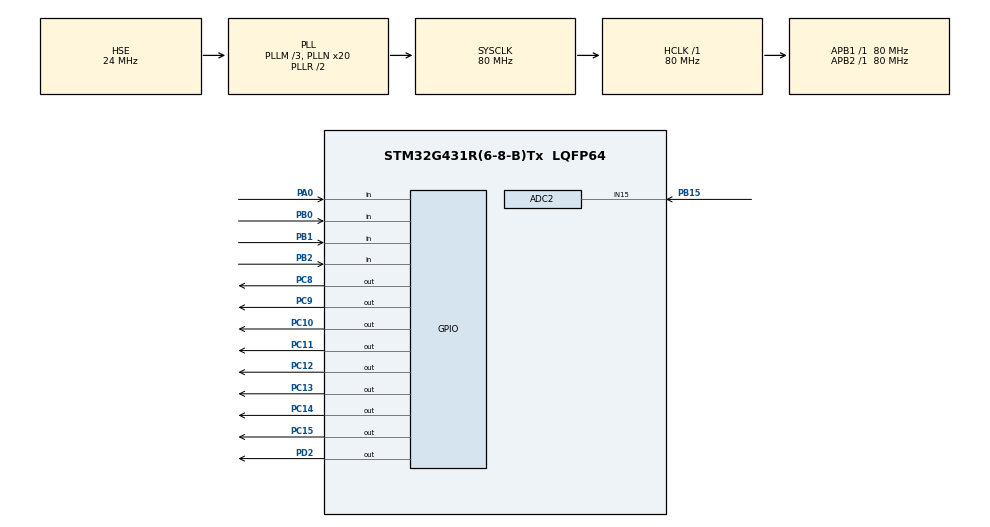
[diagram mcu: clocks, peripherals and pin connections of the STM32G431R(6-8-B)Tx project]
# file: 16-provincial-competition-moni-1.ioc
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ADC2.Channel-0\#ChannelRegularConversion=ADC_CHANNEL_15
ADC2.NbrOfConversionFlag=1
ADC2.OffsetNumber-0\#ChannelRegularConversion=ADC_OFFSET_NONE
ADC2.Rank-0\#ChannelRegularConversion=1
ADC2.SamplingTime-0\#ChannelRegularConversion=ADC_SAMPLETIME_2CYCLES_5
Mcu.Family=STM32G4
Mcu.Name=STM32G431R(6-8-B)Tx
Mcu.Package=LQFP64
NVIC.PriorityGroup=NVIC_PRIORITYGROUP_4
NVIC.TIM2_IRQn=true\:0\:0\:false\:false\:true\:true\:true\:true
PA0.GPIO_PuPd=GPIO_PULLUP
PA0.Signal=GPIO_Input
PA13.Mode=Serial_Wire
PA13.Signal=SYS_JTMS-SWDIO
PA14.Mode=Serial_Wire
PA14.Signal=SYS_JTCK-SWCLK
PB0.GPIO_PuPd=GPIO_PULLUP
PB0.Signal=GPIO_Input
PB1.GPIO_PuPd=GPIO_PULLUP
PB1.Signal=GPIO_Input
PB15.Mode=IN15-Single-Ended
PB15.Signal=ADC2_IN15
PB2.GPIO_PuPd=GPIO_PULLUP
PB2.Signal=GPIO_Input
PC10.PinState=GPIO_PIN_SET
PC10.Signal=GPIO_Output
PC11.PinState=GPIO_PIN_SET
PC11.Signal=GPIO_Output
PC12.PinState=GPIO_PIN_SET
PC12.Signal=GPIO_Output
PC13.PinState=GPIO_PIN_SET
PC13.Signal=GPIO_Output
PC14-OSC32_IN.PinState=GPIO_PIN_SET
PC14-OSC32_IN.Signal=GPIO_Output
PC15-OSC32_OUT.PinState=GPIO_PIN_SET
PC15-OSC32_OUT.Signal=GPIO_Output
PC8.PinState=GPIO_PIN_SET
PC8.Signal=GPIO_Output
PC9.PinState=GPIO_PIN_SET
PC9.Signal=GPIO_Output
PD2.Signal=GPIO_Output
PF0-OSC_IN.Mode=HSE-External-Oscillator
PF0-OSC_IN.Signal=RCC_OSC_IN
PF1-OSC_OUT.Mode=HSE-External-Oscillator
PF1-OSC_OUT.Signal=RCC_OSC_OUT
ProjectManager.HeapSize=0x200
ProjectManager.StackSize=0x400
ProjectManager.TargetToolchain=MDK-ARM V5.32
RCC.ADC12Freq_Value=80000000
RCC.AHBFreq_Value=80000000
RCC.APB1Freq_Value=80000000
RCC.APB1TimFreq_Value=80000000
RCC.APB2Freq_Value=80000000
RCC.APB2TimFreq_Value=80000000
RCC.CortexFreq_Value=80000000
RCC.EXTERNAL_CLOCK_VALUE=12288000
RCC.HCLKFreq_Value=80000000
RCC.HSE_VALUE=24000000
RCC.HSI48_VALUE=48000000
RCC.HSI_VALUE=16000000
RCC.LSE_VALUE=32768
RCC.PLLM=RCC_PLLM_DIV3
RCC.PLLN=20
RCC.PLLSourceVirtual=RCC_PLLSOURCE_HSE
RCC.SYSCLKFreq_VALUE=80000000
RCC.SYSCLKSource=RCC_SYSCLKSOURCE_PLLCLK
RCC.USBFreq_Value=80000000
RCC.VCOOutputFreq_Value=160000000
TIM2.PeriodNoDither=10000-1
TIM2.Prescaler=8000-1
VP_SYS_VS_DBSignals.Mode=DisableDeadBatterySignals
VP_TIM2_VS_ClockSourceINT.Mode=Internal
board=custom

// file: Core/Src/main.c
/* USER CODE BEGIN Header */
/**
  ******************************************************************************
  * @file           : main.c
  * @brief          : Main program body
  ******************************************************************************
  * @attention
  *
  * Copyright (c) 2025 STMicroelectronics.
  * All rights reserved.
  *
  * This software is licensed under terms that can be found in the LICENSE file
  * in the root directory of this software component.
  * If no LICENSE file comes with this software, it is provided AS-IS.
  *
  ******************************************************************************
  */
/* USER CODE END Header */
#include "main.h"
#include "adc.h"
#include "tim.h"
#include "gpio.h"

/* USER CODE BEGIN Includes */
#include "stdio.h"
#include "stdint.h"
#include "string.h"
#include "lcd.h"
#include "i2c_hal.h"
/* USER CODE END Includes */

/* USER CODE BEGIN PV */
char text[20];
char input[4] = {'*', '0', '1', '2'}, pwd[3];
uint8_t pd1, pd2, pd3, pd_index, mpd_index, mpd1, mpd2, mpd3, page, sec_3, tim_flag;
double r37;
uint8_t key_val, key_up, key_down, key_last_val;
/* USER CODE END PV */

void SystemClock_Config(void);

/* USER CODE BEGIN 0 */
void LCD_Proc(void);
void KEY_Proc(void);
void PWD_Proc(void);
void LED_Proc(void);
void QIEHUAN(void);
/* USER CODE END 0 */

int main(void)
{

  /* MCU Configuration--------------------------------------------------------*/

  /* Reset of all peripherals, Initializes the Flash interface and the Systick. */
  HAL_Init();

  /* Configure the system clock */
  SystemClock_Config();

  /* Initialize all configured peripherals */
  MX_GPIO_Init();
  MX_ADC2_Init();
  MX_TIM2_Init();
  /* USER CODE BEGIN 2 */
    // LCD
    LCD_Init();
    LCD_Clear(Black);
    LCD_SetBackColor(Black);
    LCD_SetTextColor(White);
    // ADC
    HAL_ADCEx_Calibration_Start(&hadc2, ADC_SINGLE_ENDED);
    TIM2->CNT=0;
    // I2C
    I2CInit();
    pwd[0] = EEPROM_Read(0)+'0';
    pwd[1] = EEPROM_Read(1)+'0';
    pwd[2] = EEPROM_Read(2)+'0';
  /* USER CODE END 2 */

  /* Infinite loop */
  /* USER CODE BEGIN WHILE */
  while (1)
  {
      KEY_Proc();
      PWD_Proc();
      LCD_Proc();
      LED_Proc();
      QIEHUAN();
      if(page==1 && tim_flag==0){
          __HAL_TIM_CLEAR_FLAG(&htim2, TIM_FLAG_UPDATE);
          HAL_TIM_Base_Start_IT(&htim2);
          tim_flag=1;
      }
      if(mpd_index!=0){
          HAL_TIM_Base_Stop_IT(&htim2);
          tim_flag=0;
          TIM2->CNT=0;
      }
      if(sec_3==3){
          HAL_TIM_Base_Stop_IT(&htim2);
          page=0;
          tim_flag=0;
          TIM2->CNT=0;
          sec_3=0;
      }
    /* USER CODE END WHILE */

  }
}

void SystemClock_Config(void)
{
  RCC_OscInitTypeDef RCC_OscInitStruct = {0};
  RCC_ClkInitTypeDef RCC_ClkInitStruct = {0};

  /** Configure the main internal regulator output voltage
  */
  HAL_PWREx_ControlVoltageScaling(PWR_REGULATOR_VOLTAGE_SCALE1);

  /** Initializes the RCC Oscillators according to the specified parameters
  * in the RCC_OscInitTypeDef structure.
  */
  RCC_OscInitStruct.OscillatorType = RCC_OSCILLATORTYPE_HSE;
  RCC_OscInitStruct.HSEState = RCC_HSE_ON;
  RCC_OscInitStruct.PLL.PLLState = RCC_PLL_ON;
  RCC_OscInitStruct.PLL.PLLSource = RCC_PLLSOURCE_HSE;
  RCC_OscInitStruct.PLL.PLLM = RCC_PLLM_DIV3;
  RCC_OscInitStruct.PLL.PLLN = 20;
  RCC_OscInitStruct.PLL.PLLP = RCC_PLLP_DIV2;
  RCC_OscInitStruct.PLL.PLLQ = RCC_PLLQ_DIV2;
  RCC_OscInitStruct.PLL.PLLR = RCC_PLLR_DIV2;
  if (HAL_RCC_OscConfig(&RCC_OscInitStruct) != HAL_OK)
  {
    Error_Handler();
  }

  /** Initializes the CPU, AHB and APB buses clocks
  */
  RCC_ClkInitStruct.ClockType = RCC_CLOCKTYPE_HCLK|RCC_CLOCKTYPE_SYSCLK
                              |RCC_CLOCKTYPE_PCLK1|RCC_CLOCKTYPE_PCLK2;
  RCC_ClkInitStruct.SYSCLKSource = RCC_SYSCLKSOURCE_PLLCLK;
  RCC_ClkInitStruct.AHBCLKDivider = RCC_SYSCLK_DIV1;
  RCC_ClkInitStruct.APB1CLKDivider = RCC_HCLK_DIV1;
  RCC_ClkInitStruct.APB2CLKDivider = RCC_HCLK_DIV1;

  if (HAL_RCC_ClockConfig(&RCC_ClkInitStruct, FLASH_LATENCY_2) != HAL_OK)
  {
    Error_Handler();
  }
}

/* USER CODE BEGIN 4 */
void Get_Vol(){
    HAL_ADC_Start(&hadc2);
    uint32_t temp=HAL_ADC_GetValue(&hadc2);
    r37=(3.3*temp)/4096;
}
void QIEHUAN(void){
    if(pd_index==0){
        if(r37<1.5) pd1=1;
        else if(r37>2.5) pd1=3;
        else pd1=2;
    }
    if(pd_index==1){
        if(r37<1.5) pd2=1;
        else if(r37>2.5) pd2=3;
        else pd2=2;
    }
    if(pd_index==2){
        if(r37<1.5) pd3=1;
        else if(r37>2.5) pd3=3;
        else pd3=2;
    }
    if(mpd_index==0){
        if(r37<1.5) mpd1=1;
        else if(r37>2.5) mpd1=3;
        else mpd1=2;
    }
    if(mpd_index==1){
        if(r37<1.5) mpd2=1;
        else if(r37>2.5) mpd2=3;
        else mpd2=2;
    }
    if(mpd_index==2){
        if(r37<1.5) mpd3=1;
        else if(r37>2.5) mpd3=3;
        else mpd3=2;
    }
}
void LCD_Proc(void){
    Get_Vol();
    if(page==0){
        sprintf(text, "        Lock        ");
        LCD_DisplayStringLine(Line1, (uint8_t*)text);
        sprintf(text, "      Pass Word    ");
        LCD_DisplayStringLine(Line3, (uint8_t*)text);
        sprintf(text, "        %c %c %c       ", input[pd1], input[pd2], input[pd3]);
        LCD_DisplayStringLine(Line4, (uint8_t*)text);
    }else{
        sprintf(text, "        Set         ");
        LCD_DisplayStringLine(Line1, (uint8_t*)text);
        sprintf(text, "       Change       ");
        LCD_DisplayStringLine(Line3, (uint8_t*)text);
        sprintf(text, "       %c %c %c        ", input[mpd1], input[mpd2], input[mpd3]);
        LCD_DisplayStringLine(Line4, (uint8_t*)text);
    }
}
uint8_t KEY_Scan(void){
    uint8_t key_value=0;
    if(HAL_GPIO_ReadPin(GPIOB, GPIO_PIN_0)==GPIO_PIN_RESET){
        key_value=1;
    }
    if(HAL_GPIO_ReadPin(GPIOB, GPIO_PIN_1)==GPIO_PIN_RESET){
        key_value=2;
    }
    if(HAL_GPIO_ReadPin(GPIOB, GPIO_PIN_2)==GPIO_PIN_RESET){
        key_value=3;
    }
    if(HAL_GPIO_ReadPin(GPIOA, GPIO_PIN_0)==GPIO_PIN_RESET){
        key_value=4;
    }
    return key_value;
}
void KEY_Proc(void){
    key_val=KEY_Scan();
    key_down=key_val&(key_val^key_last_val);
    key_up=~key_val&(key_val^key_last_val);
    key_last_val=key_val;
    if(key_down==1){
        if(page==0 && pd_index==0){
            pd_index++;
        }else if(page==0 && pd_index==1){
            pd_index++;
        }else if(page==0 && pd_index==2){
            pd_index++;
        }
        if(page==1){
            if(mpd_index==0){
                EEPROM_Write(0, input[mpd1]-'0');
                mpd_index++;
            }else if(mpd_index==1){
                EEPROM_Write(1, input[mpd2]-'0');
                mpd_index++;
            }else if(mpd_index==2){
                EEPROM_Write(2, input[mpd3]-'0');
                mpd_index++;
            }
        }
    }
}
void PWD_Proc(void){
    if(pd_index==3){
        pd_index=0;
        if(input[pd1]==pwd[0] && input[pd2]==pwd[1] && input[pd3]==pwd[2]){
            page=1;
        }
        pd1=pd2=pd3=0;
    }
    if(mpd_index==3){
        mpd_index=0;
        mpd1=mpd2=mpd3=0;
        page=0;
    }
}
void LED_Show(uint8_t led, uint8_t mode){
    if(mode){
        HAL_GPIO_WritePin(GPIOC, led<<8, GPIO_PIN_RESET);
        HAL_GPIO_WritePin(GPIOD, GPIO_PIN_2, GPIO_PIN_SET);
        HAL_GPIO_WritePin(GPIOD, GPIO_PIN_2, GPIO_PIN_RESET);
    }else{
        HAL_GPIO_WritePin(GPIOC, led<<8, GPIO_PIN_SET);
        HAL_GPIO_WritePin(GPIOD, GPIO_PIN_2, GPIO_PIN_SET);
        HAL_GPIO_WritePin(GPIOD, GPIO_PIN_2, GPIO_PIN_RESET);
    }
}
void LED_Proc(void){
    if(page==0){
        LED_Show(0x01, 1);
        LED_Show(0x02, 0);
    }else{
        LED_Show(0x01, 0);
        LED_Show(0x02, 1);
    }
}
void HAL_TIM_PeriodElapsedCallback(TIM_HandleTypeDef *htim){
    if(htim->Instance==TIM2){
        sec_3++;
    }
}
/* USER CODE END 4 */

void Error_Handler(void)
{
  __disable_irq();
  while (1)
  {
  }
}
